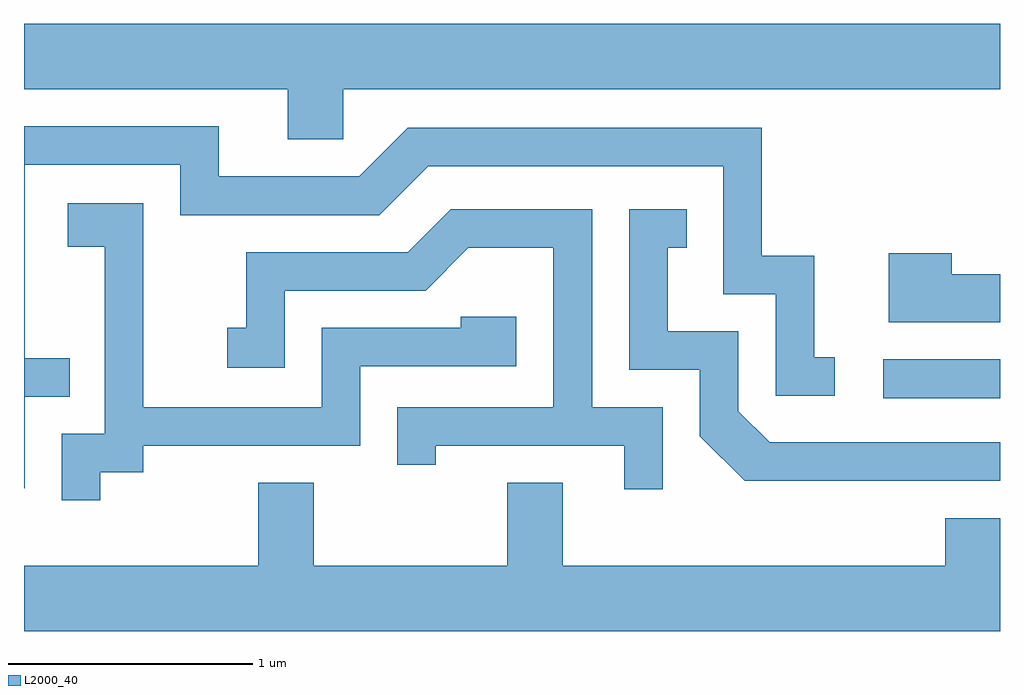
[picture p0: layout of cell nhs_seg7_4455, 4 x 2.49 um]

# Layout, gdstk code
import gdstk
lib = gdstk.Library(unit=1e-6, precision=1e-09)
def R(c, l, rs):  # rectangles x0, y0, x1, y1
    for r in rs: c.add(gdstk.rectangle(r[:2], r[2:], *l))
def P(c, l, *ps):  # polygons
    for p in ps: c.add(gdstk.Polygon(p, *l))
L2000_40 = (2000, 40)

nhs_seg7_4455 = lib.new_cell('nhs_seg7_4455')
R(nhs_seg7_4455, L2000_40, [(325.133,1755.231,325.611,1755.389)])
P(nhs_seg7_4455, L2000_40, [(322.919,1756.496),(325.611,1756.496),(325.611,1756.764),(321.611,1756.764),(321.611,1756.496),(322.691,1756.496),(322.691,1756.291),(322.919,1756.291)],
  [(321.614,1755.236),(321.798,1755.236),(321.798,1755.394),(321.614,1755.394),(321.614,1756.186),(322.251,1756.186),(322.251,1755.981),(323.067,1755.981),(323.267,1756.181),(324.476,1756.181),(324.476,1755.656),(324.691,1755.656),(324.691,1755.241),(324.933,1755.241),(324.933,1755.399),(324.849,1755.399),(324.849,1755.814),(324.634,1755.814),(324.634,1756.339),(323.184,1756.339),(322.984,1756.139),(322.409,1756.139),(322.409,1756.344),(321.611,1756.344),(321.611,1754.861),(321.614,1754.861)],
  [(321.924,1754.926),(322.099,1754.926),(322.099,1755.036),(322.989,1755.036),(322.989,1755.361),(323.629,1755.361),(323.629,1755.564),(323.401,1755.564),(323.401,1755.519),(322.831,1755.519),(322.831,1755.194),(322.099,1755.194),(322.099,1756.029),(321.791,1756.029),(321.791,1755.851),(321.941,1755.851),(321.941,1755.084),(321.766,1755.084),(321.766,1754.813),(321.924,1754.813)],
  [(324.229,1755.194),(323.939,1755.194),(323.939,1756.004),(323.359,1756.004),(323.184,1755.829),(322.521,1755.829),(322.521,1755.519),(322.443,1755.519),(322.443,1755.356),(322.679,1755.356),(322.679,1755.671),(323.257,1755.671),(323.432,1755.846),(323.781,1755.846),(323.781,1755.194),(323.141,1755.194),(323.141,1754.958),(323.299,1754.958),(323.299,1755.036),(324.071,1755.036),(324.071,1754.858),(324.229,1754.858)],
  [(325.611,1755.049),(324.667,1755.049),(324.539,1755.177),(324.539,1755.504),(324.249,1755.504),(324.249,1755.846),(324.328,1755.846),(324.328,1756.004),(324.091,1756.004),(324.091,1755.346),(324.381,1755.346),(324.381,1755.074),(324.564,1754.891),(325.611,1754.891)],
  [(325.611,1755.739),(325.414,1755.739),(325.414,1755.824),(325.156,1755.824),(325.156,1755.541),(325.611,1755.541)],
  [(325.611,1754.739),(325.386,1754.739),(325.386,1754.544),(323.819,1754.544),(323.819,1754.884),(323.591,1754.884),(323.591,1754.544),(322.799,1754.544),(322.799,1754.884),(322.571,1754.884),(322.571,1754.544),(321.611,1754.544),(321.611,1754.276),(325.611,1754.276)])

lib.write_gds('nhs_seg7_4455.gds')
